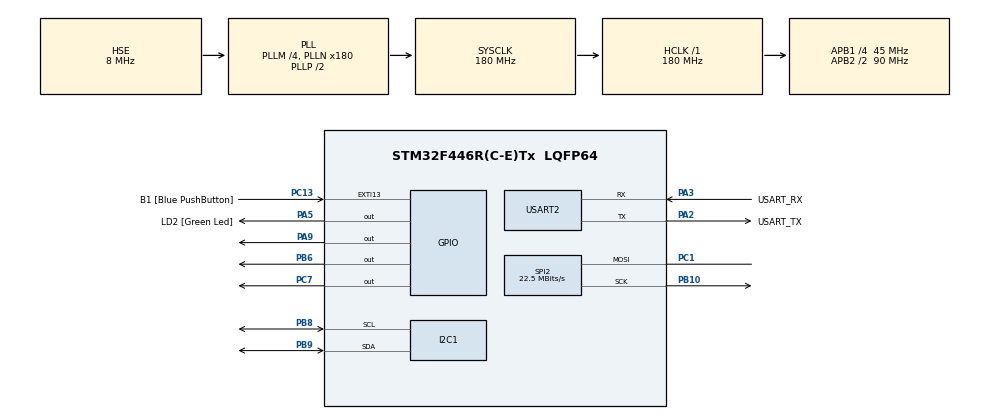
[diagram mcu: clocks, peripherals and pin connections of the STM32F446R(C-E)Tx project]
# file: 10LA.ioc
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I2C1.I2C_Mode=I2C_Standard
Mcu.Family=STM32F4
Mcu.Name=STM32F446R(C-E)Tx
Mcu.Package=LQFP64
NVIC.PriorityGroup=NVIC_PRIORITYGROUP_0
NVIC.USART2_IRQn=true\:0\:0\:false\:false\:true\:true\:true\:true
PA13.GPIO_Label=TMS
PA13.Signal=SYS_JTMS-SWDIO
PA14.GPIO_Label=TCK
PA14.Signal=SYS_JTCK-SWCLK
PA2.GPIO_Label=USART_TX
PA2.Mode=Asynchronous
PA2.Signal=USART2_TX
PA3.GPIO_Label=USART_RX
PA3.Mode=Asynchronous
PA3.Signal=USART2_RX
PA5.GPIO_Label=LD2 [Green Led]
PA5.Signal=GPIO_Output
PA9.Signal=GPIO_Output
PB10.Mode=Simplex_Bidirectional_Master
PB10.Signal=SPI2_SCK
PB3.GPIO_Label=SWO
PB3.Signal=SYS_JTDO-SWO
PB6.Signal=GPIO_Output
PB8.Mode=I2C
PB8.Signal=I2C1_SCL
PB9.Mode=I2C
PB9.Signal=I2C1_SDA
PC1.Mode=Simplex_Bidirectional_Master
PC1.Signal=SPI2_MOSI
PC13.GPIO_Label=B1 [Blue PushButton]
PC13.GPIO_ModeDefaultEXTI=GPIO_MODE_IT_FALLING
PC13.Signal=GPXTI13
PC14-OSC32_IN.Signal=RCC_OSC32_IN
PC15-OSC32_OUT.Signal=RCC_OSC32_OUT
PC7.Signal=GPIO_Output
PH0-OSC_IN.Mode=HSE-External-Clock-Source
PH0-OSC_IN.Signal=RCC_OSC_IN
PH1-OSC_OUT.Mode=HSE-External-Clock-Source
PH1-OSC_OUT.Signal=RCC_OSC_OUT
ProjectManager.HeapSize=0x200
ProjectManager.StackSize=0x400
ProjectManager.TargetToolchain=STM32CubeIDE
RCC.AHBFreq_Value=180000000
RCC.APB1CLKDivider=RCC_HCLK_DIV4
RCC.APB1Freq_Value=45000000
RCC.APB1TimFreq_Value=90000000
RCC.APB2CLKDivider=RCC_HCLK_DIV2
RCC.APB2Freq_Value=90000000
RCC.APB2TimFreq_Value=180000000
RCC.CortexFreq_Value=180000000
RCC.FLatency-AdvancedSettings=FLASH_LATENCY_5
RCC.HCLKFreq_Value=180000000
RCC.HSE_VALUE=8000000
RCC.HSI_VALUE=16000000
RCC.LSE_VALUE=32768
RCC.PLLM=4
RCC.PLLN=180
RCC.PLLSourceVirtual=RCC_PLLSOURCE_HSE
RCC.SYSCLKFreq_VALUE=180000000
RCC.SYSCLKSource=RCC_SYSCLKSOURCE_PLLCLK
RCC.USBFreq_Value=180000000
RCC.VCOOutputFreq_Value=360000000
SPI2.BaudRatePrescaler=SPI_BAUDRATEPRESCALER_2
SPI2.CalculateBaudRate=22.5 MBits/s
SPI2.Direction=SPI_DIRECTION_1LINE
SPI2.Mode=SPI_MODE_MASTER
SPI2.VirtualType=VM_MASTER
USART2.VirtualMode=VM_ASYNC
board=NUCLEO-F446RE

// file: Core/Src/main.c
/* USER CODE BEGIN Header */
/**
  ******************************************************************************
  * @file           : main.c
  * @brief          : Main program body
  ******************************************************************************
  * @attention
  *
  * Copyright (c) 2025 STMicroelectronics.
  * All rights reserved.
  *
  * This software is licensed under terms that can be found in the LICENSE file
  * in the root directory of this software component.
  * If no LICENSE file comes with this software, it is provided AS-IS.
  *
  ******************************************************************************
  */
/* USER CODE END Header */
#include "main.h"

/* USER CODE BEGIN Includes */
#include "ST7735.h"
#include "GFX_FUNCTIONS.h"
#include <stdio.h>
#include <string.h>

/* USER CODE END Includes */

/* USER CODE BEGIN PTD */

#define MPU6050_I2C_ADDRESS		0xD0

#define MPU6050_SMPLRT_DIV		0x19
#define MPU6050_ACCEL_CONFIG	0x1C
#define MPU6050_ACCEL_OUT		0x3B		/* 0x3B:0x3C=X, 0x3D:0x3E=Y, 0x3F:0x40=Z */
#define MPU6050_PWR_MGMT_1		0x6B

/* USER CODE END PTD */

I2C_HandleTypeDef hi2c1;

SPI_HandleTypeDef hspi2;

UART_HandleTypeDef huart2;

/* USER CODE BEGIN PV */

int16_t  iAx, iAy, iAz;

float fAx, fAy, fAz;

int16_t iBx, iBy;

/* USER CODE END PV */

void SystemClock_Config(void);
static void MX_GPIO_Init(void);
static void MX_SPI2_Init(void);
static void MX_USART2_UART_Init(void);
static void MX_I2C1_Init(void);
/* USER CODE BEGIN PFP */

void MPU6050Init(void);
void MPU6050ReadAccel(void);

/* USER CODE END PFP */

int main(void)
{

  /* MCU Configuration--------------------------------------------------------*/

  /* Reset of all peripherals, Initializes the Flash interface and the Systick. */
  HAL_Init();

  /* Configure the system clock */
  SystemClock_Config();

  /* Initialize all configured peripherals */
  MX_GPIO_Init();
  MX_SPI2_Init();
  MX_USART2_UART_Init();
  MX_I2C1_Init();
  /* USER CODE BEGIN 2 */

  ST7735_Init(0);
  fillScreen(BLACK);
  //testAll();
  //HAL_Delay(400);
  //drawCircle(64, 80, 20, RED);

  //ST7735_WriteString(10, 20, "Hello World!", Font_7x10, MAGENTA, BLACK);

  // X (Y)
  drawRect(5, 129, 117, 20, WHITE);
  iBx = 63; // X(Y)
  drawCircle(iBx, 139, 6, RED);

  // Y (Z)
  drawRect(53, 5, 20, 118, WHITE);
  iBy = 64; // Y (Z)
  drawCircle(63, iBy, 6, BLUE);

  MPU6050Init();
  char chTxData[100];

  /* USER CODE END 2 */

  /* Infinite loop */
  /* USER CODE BEGIN WHILE */
  while (1)
  {

	  MPU6050ReadAccel();

	  fAx = (float)iAx;
	  fAx /= 16384;
	  fAy = (float)iAy;
	  fAy /= 16384;
	  fAz = (float)iAz;
	  fAz /= 16384;
	  //sprintf(chTxData,"Ax=%d, Ay=%d, Az=%d\r\n",iAx, iAy, iAz);
	  //sprintf(chTxData,"Ax=%0.2f, Ay=%0.2f, Az=%0.2f\r\n",fAx, fAy, fAz);
	  //sprintf(chTxData,"%0.2f,%0.2f,%0.2f\r\n",fAx, fAy, fAz);
	  //HAL_UART_Transmit(&huart2, (uint8_t*)chTxData, strlen(chTxData), HAL_MAX_DELAY);

	  iAy /= 1500;
	  iAz /= 1500;

	  sprintf(chTxData,"Ax=%d, Ay=%d, Az=%d\r\n",iAx, iAy, iAz);
	  HAL_UART_Transmit(&huart2, (uint8_t*)chTxData, strlen(chTxData), HAL_MAX_DELAY);

	  //iBx = 63; // X(Y)
	  drawCircle(iBx, 139, 6, BLACK);
	  iBx = (63+iAy);
	  drawCircle(iBx, 139, 6, RED);

	  //iBy = 64; // Y (Z)
	  drawCircle(63, iBy, 6, BLACK);
	  iBy = (64+iAz);
	  drawCircle(63, iBy, 6, BLUE);

	  HAL_Delay(10);

    /* USER CODE END WHILE */

  }
}

void SystemClock_Config(void)
{
  RCC_OscInitTypeDef RCC_OscInitStruct = {0};
  RCC_ClkInitTypeDef RCC_ClkInitStruct = {0};

  /** Configure the main internal regulator output voltage
  */
  __HAL_RCC_PWR_CLK_ENABLE();
  __HAL_PWR_VOLTAGESCALING_CONFIG(PWR_REGULATOR_VOLTAGE_SCALE1);

  /** Initializes the RCC Oscillators according to the specified parameters
  * in the RCC_OscInitTypeDef structure.
  */
  RCC_OscInitStruct.OscillatorType = RCC_OSCILLATORTYPE_HSE;
  RCC_OscInitStruct.HSEState = RCC_HSE_BYPASS;
  RCC_OscInitStruct.PLL.PLLState = RCC_PLL_ON;
  RCC_OscInitStruct.PLL.PLLSource = RCC_PLLSOURCE_HSE;
  RCC_OscInitStruct.PLL.PLLM = 4;
  RCC_OscInitStruct.PLL.PLLN = 180;
  RCC_OscInitStruct.PLL.PLLP = RCC_PLLP_DIV2;
  RCC_OscInitStruct.PLL.PLLQ = 2;
  RCC_OscInitStruct.PLL.PLLR = 2;
  if (HAL_RCC_OscConfig(&RCC_OscInitStruct) != HAL_OK)
  {
    Error_Handler();
  }

  /** Activate the Over-Drive mode
  */
  if (HAL_PWREx_EnableOverDrive() != HAL_OK)
  {
    Error_Handler();
  }

  /** Initializes the CPU, AHB and APB buses clocks
  */
  RCC_ClkInitStruct.ClockType = RCC_CLOCKTYPE_HCLK|RCC_CLOCKTYPE_SYSCLK
                              |RCC_CLOCKTYPE_PCLK1|RCC_CLOCKTYPE_PCLK2;
  RCC_ClkInitStruct.SYSCLKSource = RCC_SYSCLKSOURCE_PLLCLK;
  RCC_ClkInitStruct.AHBCLKDivider = RCC_SYSCLK_DIV1;
  RCC_ClkInitStruct.APB1CLKDivider = RCC_HCLK_DIV4;
  RCC_ClkInitStruct.APB2CLKDivider = RCC_HCLK_DIV2;

  if (HAL_RCC_ClockConfig(&RCC_ClkInitStruct, FLASH_LATENCY_5) != HAL_OK)
  {
    Error_Handler();
  }
}

static void MX_I2C1_Init(void)
{

  hi2c1.Instance = I2C1;
  hi2c1.Init.ClockSpeed = 100000;
  hi2c1.Init.DutyCycle = I2C_DUTYCYCLE_2;
  hi2c1.Init.OwnAddress1 = 0;
  hi2c1.Init.AddressingMode = I2C_ADDRESSINGMODE_7BIT;
  hi2c1.Init.DualAddressMode = I2C_DUALADDRESS_DISABLE;
  hi2c1.Init.OwnAddress2 = 0;
  hi2c1.Init.GeneralCallMode = I2C_GENERALCALL_DISABLE;
  hi2c1.Init.NoStretchMode = I2C_NOSTRETCH_DISABLE;
  if (HAL_I2C_Init(&hi2c1) != HAL_OK)
  {
    Error_Handler();
  }

}

static void MX_SPI2_Init(void)
{

  /* SPI2 parameter configuration*/
  hspi2.Instance = SPI2;
  hspi2.Init.Mode = SPI_MODE_MASTER;
  hspi2.Init.Direction = SPI_DIRECTION_1LINE;
  hspi2.Init.DataSize = SPI_DATASIZE_8BIT;
  hspi2.Init.CLKPolarity = SPI_POLARITY_LOW;
  hspi2.Init.CLKPhase = SPI_PHASE_1EDGE;
  hspi2.Init.NSS = SPI_NSS_SOFT;
  hspi2.Init.BaudRatePrescaler = SPI_BAUDRATEPRESCALER_2;
  hspi2.Init.FirstBit = SPI_FIRSTBIT_MSB;
  hspi2.Init.TIMode = SPI_TIMODE_DISABLE;
  hspi2.Init.CRCCalculation = SPI_CRCCALCULATION_DISABLE;
  hspi2.Init.CRCPolynomial = 10;
  if (HAL_SPI_Init(&hspi2) != HAL_OK)
  {
    Error_Handler();
  }

}

static void MX_USART2_UART_Init(void)
{

  huart2.Instance = USART2;
  huart2.Init.BaudRate = 115200;
  huart2.Init.WordLength = UART_WORDLENGTH_8B;
  huart2.Init.StopBits = UART_STOPBITS_1;
  huart2.Init.Parity = UART_PARITY_NONE;
  huart2.Init.Mode = UART_MODE_TX_RX;
  huart2.Init.HwFlowCtl = UART_HWCONTROL_NONE;
  huart2.Init.OverSampling = UART_OVERSAMPLING_16;
  if (HAL_UART_Init(&huart2) != HAL_OK)
  {
    Error_Handler();
  }

}

static void MX_GPIO_Init(void)
{
  GPIO_InitTypeDef GPIO_InitStruct = {0};

  /* GPIO Ports Clock Enable */
  __HAL_RCC_GPIOC_CLK_ENABLE();
  __HAL_RCC_GPIOH_CLK_ENABLE();
  __HAL_RCC_GPIOA_CLK_ENABLE();
  __HAL_RCC_GPIOB_CLK_ENABLE();

  /*Configure GPIO pin Output Level */
  HAL_GPIO_WritePin(GPIOA, LD2_Pin|GPIO_PIN_9, GPIO_PIN_RESET);

  /*Configure GPIO pin Output Level */
  HAL_GPIO_WritePin(GPIOC, GPIO_PIN_7, GPIO_PIN_RESET);

  /*Configure GPIO pin Output Level */
  HAL_GPIO_WritePin(GPIOB, GPIO_PIN_6, GPIO_PIN_RESET);

  /*Configure GPIO pin : B1_Pin */
  GPIO_InitStruct.Pin = B1_Pin;
  GPIO_InitStruct.Mode = GPIO_MODE_IT_FALLING;
  GPIO_InitStruct.Pull = GPIO_NOPULL;
  HAL_GPIO_Init(B1_GPIO_Port, &GPIO_InitStruct);

  /*Configure GPIO pins : LD2_Pin PA9 */
  GPIO_InitStruct.Pin = LD2_Pin|GPIO_PIN_9;
  GPIO_InitStruct.Mode = GPIO_MODE_OUTPUT_PP;
  GPIO_InitStruct.Pull = GPIO_NOPULL;
  GPIO_InitStruct.Speed = GPIO_SPEED_FREQ_LOW;
  HAL_GPIO_Init(GPIOA, &GPIO_InitStruct);

  /*Configure GPIO pin : PC7 */
  GPIO_InitStruct.Pin = GPIO_PIN_7;
  GPIO_InitStruct.Mode = GPIO_MODE_OUTPUT_PP;
  GPIO_InitStruct.Pull = GPIO_NOPULL;
  GPIO_InitStruct.Speed = GPIO_SPEED_FREQ_LOW;
  HAL_GPIO_Init(GPIOC, &GPIO_InitStruct);

  /*Configure GPIO pin : PB6 */
  GPIO_InitStruct.Pin = GPIO_PIN_6;
  GPIO_InitStruct.Mode = GPIO_MODE_OUTPUT_PP;
  GPIO_InitStruct.Pull = GPIO_NOPULL;
  GPIO_InitStruct.Speed = GPIO_SPEED_FREQ_LOW;
  HAL_GPIO_Init(GPIOB, &GPIO_InitStruct);

}

/* USER CODE BEGIN 4 */

//#define MPU6050_I2C_ADDRESS		0xD0
//
//#define MPU6050_SMPLRT_DIV		0x19
//#define MPU6050_ACCEL_CONFIG		0x1C
//#define MPU6050_ACCEL_OUT			0x3B		/* 0x3B:0x3C=X, 0x3D:0x3E=Y, 0x3F:0x40=Z */
//#define MPU6050_PWR_MGMT_1		0x6B

void MPU6050Init(void)
{
	uint8_t ui8Data;

	// Disable SLEEP
	ui8Data = 0;
	HAL_I2C_Mem_Write(&hi2c1, MPU6050_I2C_ADDRESS, MPU6050_PWR_MGMT_1, 1, &ui8Data, 1, 1000);

	// set the Sampling Rate (1KHZ)
	ui8Data = 7;
	HAL_I2C_Mem_Write(&hi2c1, MPU6050_I2C_ADDRESS, MPU6050_SMPLRT_DIV, 1, &ui8Data, 1, 1000);

	// set the Acceleration scale
	ui8Data = 0; // +/- 2g
	HAL_I2C_Mem_Write(&hi2c1, MPU6050_I2C_ADDRESS, MPU6050_ACCEL_CONFIG, 1, &ui8Data, 1, 1000);

	return;
}

void MPU6050ReadAccel(void)
{
	uint8_t ui8Data[6];

	// Read Acceleration
	HAL_I2C_Mem_Read(&hi2c1, MPU6050_I2C_ADDRESS, MPU6050_ACCEL_OUT, 1, ui8Data, 6, 1000);

	iAx = (int16_t)((ui8Data[0] << 8) | (ui8Data[1]));	//X
	iAy = (int16_t)((ui8Data[2] << 8) | (ui8Data[3]));	//Y
	iAz = (int16_t)((ui8Data[4] << 8) | (ui8Data[5]));	//Z

	return;
}

/* USER CODE END 4 */

void Error_Handler(void)
{
  __disable_irq();
  while (1)
  {
  }
}
